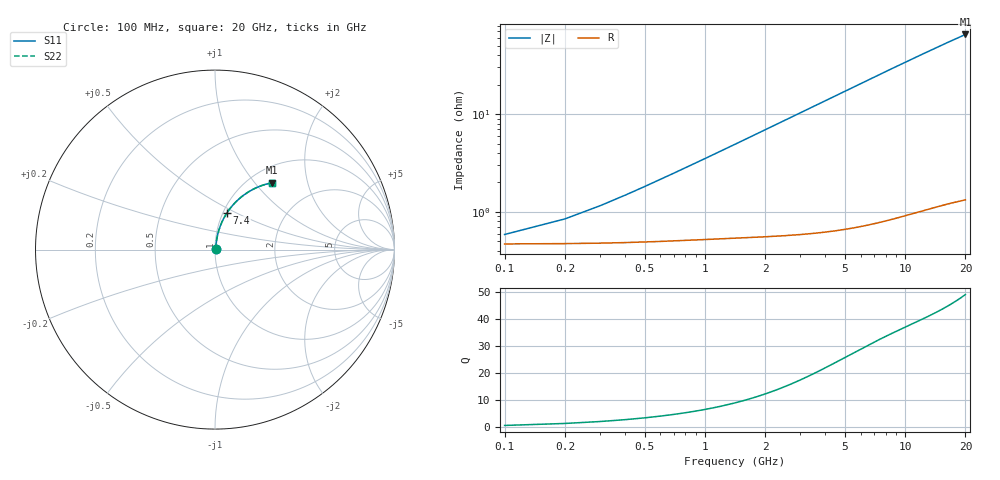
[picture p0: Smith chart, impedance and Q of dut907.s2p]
! Touchstone file exported from HFSS 2026.1.0
!  File:  C:/ffzhzh/LocalFiles/Ansys_Project_Files/temp_train_BSMRDL_907_1783171511_43440.aedt
!  Generated:  09:26:31 PM Jul  4, 2026
!  Design:  BSMRDL
!  Project:  temp_train_BSMRDL_907_1783171511_43440
! Variables:
!  h_bsmrdl = 3.04um
!  h_ox = 20um
!  h_rdl = 5um
!  h_sub = 80um
!  h_tmrdl = 5um
!  h_tsv = 80um
!  h_via = 3um
!  l_bsmrdl = 441.77um
!  l_sub = 841.77um
!  l_tmrdl = 200um
!  m_sub = 200um
!  pitch = 58.85um
!  r_tsv = 6um
!  s_tmrdl = 10um
!  w_bsmrdl = 11.15um
!  w_sub = 500um
!  w_tmrdl = 12um
!  x_tsv_center1 = 206um
!  x_tsv_center2 = 658.92um
!  x_tsv_center3 = 870.92um
!  x_tsv_center4 = 1323.84um
!  x_tsv_center5 = 1535.84um
!  x_tsv_center6 = 1988.76um
# GHz S MA R 50.000000
! Terminal data exported
! Port[1] = BSM_RDL1_1_T1
! Port[2] = BSM_RDL1_1_T2
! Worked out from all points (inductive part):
!   200 points, 100 MHz to 20 GHz, reference 50 ohm
!   read as one part in series: L = 554 pH near 500 MHz
!   highest Q = 48.9 at 20 GHz (marker M1), where L = 517 pH
!   S11 on the Smith chart (normalised r, x): 100 MHz: 1.01, +0.01; 7.4 GHz: 1.04, +0.44; 20 GHz: 1.26, +1.23
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0.1  0.005618 33.1  0.9953 -0.2  0.9953 -0.2  0.005618 33.1
! Gamma 0 0 0 0
! Port Impedance 50 0 50 0
0.2  0.007772 52.1  0.9953 -0.4  0.9953 -0.4  0.007772 52.1
0.3  0.0104 62.0  0.9952 -0.7  0.9952 -0.7  0.0104 62.0
0.4  0.0132 67.6  0.9951 -0.9  0.9951 -0.9  0.0132 67.6
0.5  0.01608 71.1  0.995 -1.1  0.995 -1.1  0.01608 71.1
0.6  0.01899 73.5  0.9949 -1.3  0.9949 -1.3  0.01899 73.5
0.8  0.02485 76.4  0.9946 -1.8  0.9946 -1.8  0.02485 76.4
1.1  0.03367 78.6  0.9942 -2.4  0.9942 -2.4  0.03367 78.6
1.5  0.04545 79.9  0.9936 -3.3  0.9936 -3.3  0.04545 79.9
1.8  0.05429 80.2  0.9931 -4.0  0.9931 -4.0  0.05429 80.2
2.1  0.06313 80.3  0.9925 -4.6  0.9925 -4.6  0.06313 80.3
2.7  0.08077 80.0  0.991 -5.9  0.991 -5.9  0.08077 80.0
3.5  0.1041 79.1  0.9886 -7.7  0.9886 -7.7  0.1041 79.1
4.2  0.1244 78.0  0.986 -9.2  0.986 -9.2  0.1244 78.0
5  0.1473 76.6  0.9826 -10.9  0.9826 -10.9  0.1473 76.6
6.8  0.1975 73.2  0.973 -14.7  0.973 -14.7  0.1975 73.2
7.4  0.2137 72.1  0.9694 -15.9  0.9694 -15.9  0.2137 72.1
8.7  0.2481 69.6  0.9606 -18.6  0.9606 -18.6  0.2481 69.6
10.1  0.2836 66.9  0.9502 -21.4  0.9502 -21.4  0.2836 66.9
13.4  0.3612 60.7  0.9225 -27.7  0.9225 -27.7  0.3612 60.7
16.7  0.4296 55.0  0.8921 -33.6  0.8921 -33.6  0.4296 55.0
20  0.489 49.6  0.8608 -39.1  0.8608 -39.1  0.489 49.6
